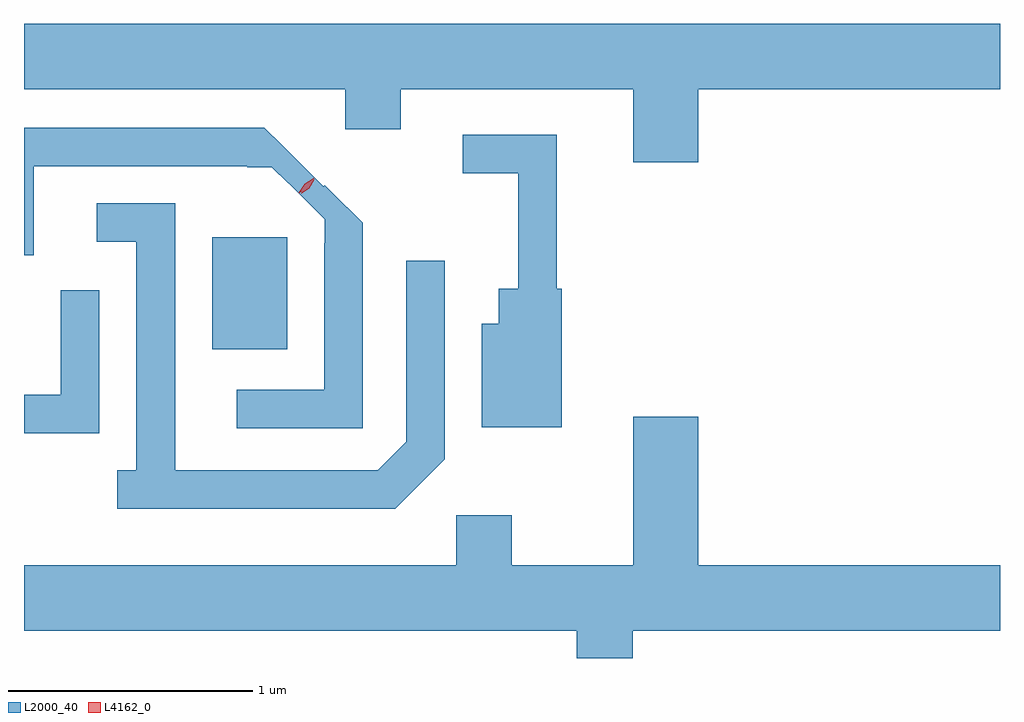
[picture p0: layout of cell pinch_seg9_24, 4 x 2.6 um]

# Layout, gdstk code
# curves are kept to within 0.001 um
import gdstk
lib = gdstk.Library(unit=1e-6, precision=1e-09)
def R(c, l, rs):  # rectangles x0, y0, x1, y1
    for r in rs: c.add(gdstk.rectangle(r[:2], r[2:], *l))
def P(c, l, *ps):  # polygons
    for p in ps: c.add(gdstk.Polygon(p, *l))
L2000_40 = (2000, 40)
L4162_0 = (4162, 0)

pinch_seg9_24 = lib.new_cell('pinch_seg9_24')
R(pinch_seg9_24, L2000_40, [(1032.531,2012.951,1032.839,2013.409)])
P(pinch_seg9_24, L2000_40, [(1034.524,2014.016),(1035.76,2014.016),(1035.76,2014.284),(1031.76,2014.284),(1031.76,2014.016),(1033.076,2014.016),(1033.076,2013.851),(1033.304,2013.851),(1033.304,2014.016),(1034.256,2014.016),(1034.256,2013.716),(1034.524,2013.716)],
  [(1033.149,2013.469),(1033.085,2013.533),(1033.083,2013.532),(1032.992,2013.623),(1032.987,2013.619),(1032.745,2013.859),(1031.76,2013.859),(1031.76,2013.336),(1031.799,2013.336),(1031.799,2013.701),(1032.675,2013.701),(1032.675,2013.697),(1032.775,2013.697),(1032.842,2013.63),(1032.843,2013.632),(1032.992,2013.484),(1032.991,2012.784),(1032.632,2012.784),(1032.632,2012.626),(1033.149,2012.626)],
  [(1033.964,2013.199),(1033.944,2013.199),(1033.944,2013.829),(1033.558,2013.829),(1033.558,2013.671),(1033.786,2013.671),(1033.786,2013.199),(1033.706,2013.199),(1033.706,2013.054),(1033.636,2013.054),(1033.636,2012.631),(1033.964,2012.631)],
  [(1033.484,2012.499),(1033.484,2013.313),(1033.326,2013.313),(1033.326,2012.572),(1033.209,2012.454),(1032.379,2012.454),(1032.379,2013.549),(1032.058,2013.549),(1032.058,2013.391),(1032.221,2013.391),(1032.221,2012.454),(1032.142,2012.454),(1032.142,2012.296),(1033.282,2012.296)],
  [(1032.069,2013.193),(1031.911,2013.193),(1031.911,2012.764),(1031.76,2012.764),(1031.76,2012.606),(1032.069,2012.606)],
  [(1034.254,2011.796),(1035.76,2011.796),(1035.76,2012.064),(1034.524,2012.064),(1034.524,2012.674),(1034.256,2012.674),(1034.256,2012.064),(1033.759,2012.064),(1033.759,2012.269),(1033.531,2012.269),(1033.531,2012.064),(1031.76,2012.064),(1031.76,2011.796),(1034.026,2011.796),(1034.026,2011.684),(1034.254,2011.684)])
P(pinch_seg9_24, L4162_0, [(1032.886,2013.59),(1032.886,2013.591),(1032.911,2013.629),(1032.949,2013.654),(1032.95,2013.654),(1032.95,2013.654),(1032.925,2013.615),(1032.886,2013.59)],
  [(1032.896,2013.588),(1032.896,2013.589),(1032.916,2013.624),(1032.949,2013.646),(1032.95,2013.646),(1032.95,2013.645),(1032.93,2013.61),(1032.897,2013.588)])

lib.write_gds('pinch_seg9_24.gds')
